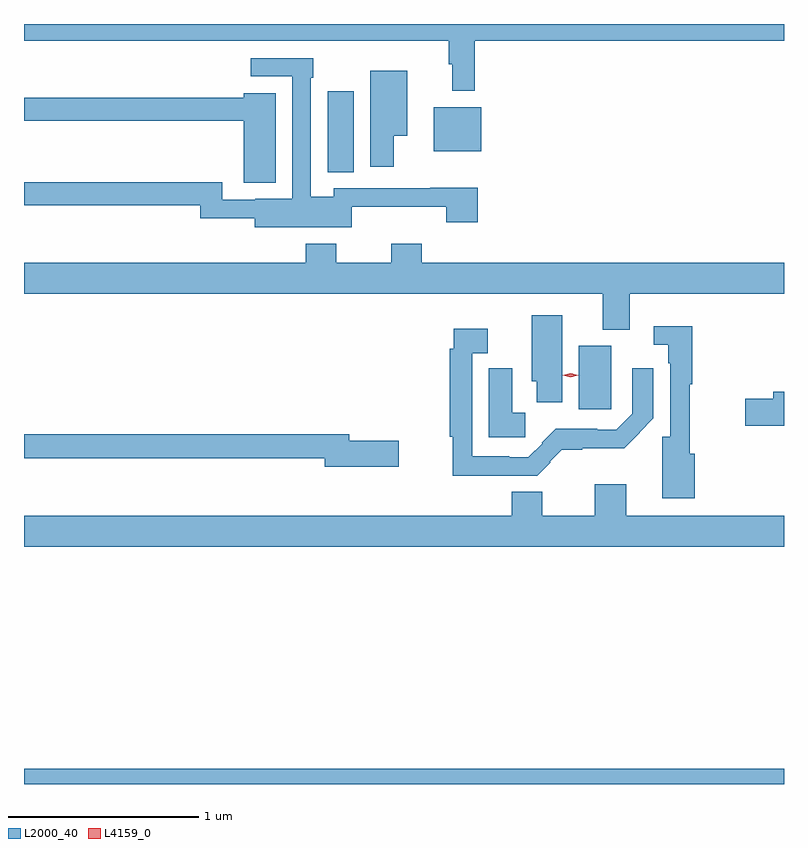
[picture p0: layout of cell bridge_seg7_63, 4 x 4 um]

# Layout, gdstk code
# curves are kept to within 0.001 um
import gdstk
lib = gdstk.Library(unit=1e-6, precision=1e-09)
def R(c, l, rs):  # rectangles x0, y0, x1, y1
    for r in rs: c.add(gdstk.rectangle(r[:2], r[2:], *l))
def P(c, l, *ps):  # polygons
    for p in ps: c.add(gdstk.Polygon(p, *l))
L2000_40 = (2000, 40)
L4159_0 = (4159, 0)

bridge_seg7_63 = lib.new_cell('bridge_seg7_63')
R(bridge_seg7_63, L2000_40, [(939.873,1019.348,943.873,1019.428), (942.794,1021.32,942.964,1021.654), (941.471,1022.569,941.608,1022.995), (942.029,1022.678,942.28,1022.911)])
P(bridge_seg7_63, L2000_40, [(942.245,1023.26),(943.873,1023.26),(943.873,1023.348),(939.873,1023.348),(939.873,1023.26),(942.109,1023.26),(942.109,1023.137),(942.127,1023.137),(942.127,1022.997),(942.245,1022.997)],
  [(941.598,1022.387),(942.095,1022.387),(942.095,1022.304),(942.26,1022.304),(942.26,1022.486),(942.011,1022.486),(942.011,1022.484),(941.502,1022.484),(941.502,1022.44),(941.382,1022.44),(941.382,1023.065),(941.395,1023.065),(941.395,1023.168),(941.067,1023.168),(941.067,1023.072),(941.286,1023.072),(941.286,1022.428),(941.091,1022.428),(941.091,1022.424),(940.917,1022.424),(940.917,1022.515),(939.873,1022.515),(939.873,1022.394),(940.801,1022.394),(940.801,1022.326),(941.087,1022.326),(941.087,1022.279),(941.598,1022.279)],
  [(941.818,1022.759),(941.89,1022.759),(941.89,1023.103),(941.696,1023.103),(941.696,1022.598),(941.818,1022.598)],
  [(941.197,1022.983),(941.03,1022.983),(941.03,1022.959),(939.873,1022.959),(939.873,1022.838),(941.03,1022.838),(941.03,1022.513),(941.197,1022.513)],
  [(943.06,1021.928),(943.873,1021.928),(943.873,1022.092),(941.966,1022.092),(941.966,1022.191),(941.806,1022.191),(941.806,1022.092),(941.517,1022.092),(941.517,1022.191),(941.357,1022.191),(941.357,1022.092),(939.873,1022.092),(939.873,1021.928),(942.92,1021.928),(942.92,1021.739),(943.06,1021.739)],
  [(942.706,1021.816),(942.545,1021.816),(942.545,1021.467),(942.572,1021.467),(942.572,1021.356),(942.706,1021.356)],
  [(943.403,1021.087),(943.376,1021.087),(943.376,1021.452),(943.391,1021.452),(943.391,1021.756),(943.188,1021.756),(943.188,1021.659),(943.263,1021.659),(943.263,1021.562),(943.275,1021.562),(943.275,1021.176),(943.232,1021.176),(943.232,1020.851),(943.403,1020.851)],
  [(942.645,1021.041),(942.641,1021.045),(942.703,1021.107),(942.811,1021.107),(942.811,1021.115),(943.031,1021.115),(943.186,1021.272),(943.186,1021.537),(943.074,1021.537),(943.074,1021.296),(942.99,1021.212),(942.89,1021.212),(942.89,1021.217),(942.671,1021.217),(942.597,1021.143),(942.6,1021.14),(942.528,1021.068),(942.428,1021.068),(942.428,1021.072),(942.231,1021.072),(942.231,1021.616),(942.314,1021.616),(942.314,1021.744),(942.135,1021.744),(942.135,1021.64),(942.115,1021.64),(942.115,1021.175),(942.13,1021.175),(942.13,1020.971),(942.575,1020.971)],
  [(942.511,1021.303),(942.442,1021.303),(942.442,1021.535),(942.32,1021.535),(942.32,1021.174),(942.511,1021.174)],
  [(943.873,1021.412),(943.817,1021.412),(943.817,1021.376),(943.668,1021.376),(943.668,1021.234),(943.873,1021.234)],
  [(941.845,1021.154),(941.584,1021.154),(941.584,1021.19),(939.873,1021.19),(939.873,1021.062),(941.456,1021.062),(941.456,1021.019),(941.845,1021.019)],
  [(943.873,1020.76),(943.042,1020.76),(943.042,1020.925),(942.878,1020.925),(942.878,1020.76),(942.601,1020.76),(942.601,1020.886),(942.44,1020.886),(942.44,1020.76),(939.873,1020.76),(939.873,1020.596),(943.873,1020.596)])
P(bridge_seg7_63, L4159_0, [(942.75,1021.489),(942.709,1021.499),(942.708,1021.5),(942.709,1021.5),(942.75,1021.509),(942.791,1021.5),(942.791,1021.499),(942.791,1021.499)])

lib.write_gds('bridge_seg7_63.gds')
